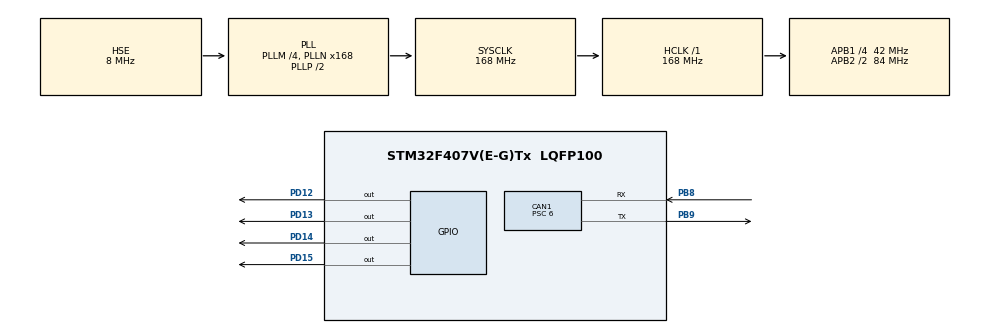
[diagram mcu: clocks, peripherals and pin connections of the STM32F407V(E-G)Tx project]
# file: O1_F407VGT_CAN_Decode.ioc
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CAN1.BS1=CAN_BS1_8TQ
CAN1.BS2=CAN_BS2_5TQ
CAN1.CalculateBaudRate=500000
CAN1.CalculateTimeBit=2000
CAN1.CalculateTimeQuantum=142.85714285714286
CAN1.Prescaler=6
Mcu.Family=STM32F4
Mcu.Name=STM32F407V(E-G)Tx
Mcu.Package=LQFP100
NVIC.CAN1_RX0_IRQn=true\:0\:0\:false\:false\:true\:true\:true\:true
NVIC.CAN1_RX1_IRQn=true\:0\:0\:false\:false\:true\:true\:true\:true
NVIC.PriorityGroup=NVIC_PRIORITYGROUP_4
PA13.Mode=Serial_Wire
PA13.Signal=SYS_JTMS-SWDIO
PA14.Mode=Serial_Wire
PA14.Signal=SYS_JTCK-SWCLK
PB8.Mode=CAN_Activate
PB8.Signal=CAN1_RX
PB9.Mode=CAN_Activate
PB9.Signal=CAN1_TX
PD12.Signal=GPIO_Output
PD13.Signal=GPIO_Output
PD14.Signal=GPIO_Output
PD15.Signal=GPIO_Output
PH0-OSC_IN.Mode=HSE-External-Oscillator
PH0-OSC_IN.Signal=RCC_OSC_IN
PH1-OSC_OUT.Mode=HSE-External-Oscillator
PH1-OSC_OUT.Signal=RCC_OSC_OUT
ProjectManager.HeapSize=0x200
ProjectManager.StackSize=0x400
ProjectManager.TargetToolchain=STM32CubeIDE
RCC.48MHZClocksFreq_Value=84000000
RCC.AHBFreq_Value=168000000
RCC.APB1CLKDivider=RCC_HCLK_DIV4
RCC.APB1Freq_Value=42000000
RCC.APB1TimFreq_Value=84000000
RCC.APB2CLKDivider=RCC_HCLK_DIV2
RCC.APB2Freq_Value=84000000
RCC.APB2TimFreq_Value=168000000
RCC.CortexFreq_Value=168000000
RCC.HCLKFreq_Value=168000000
RCC.HSE_VALUE=8000000
RCC.HSI_VALUE=16000000
RCC.LSE_VALUE=32768
RCC.PLLM=4
RCC.PLLN=168
RCC.PLLSourceVirtual=RCC_PLLSOURCE_HSE
RCC.SYSCLKFreq_VALUE=168000000
RCC.SYSCLKSource=RCC_SYSCLKSOURCE_PLLCLK
RCC.VCOOutputFreq_Value=336000000
board=custom

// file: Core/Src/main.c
/* USER CODE BEGIN Header */
/**
  ******************************************************************************
  * @file           : main.c
  * @brief          : Main program body
  ******************************************************************************
  * @attention
  *
  * Copyright (c) 2025 STMicroelectronics.
  * All rights reserved.
  *
  * This software is licensed under terms that can be found in the LICENSE file
  * in the root directory of this software component.
  * If no LICENSE file comes with this software, it is provided AS-IS.
  *
  ******************************************************************************
  */
/* USER CODE END Header */
#include "main.h"
#include "can.h"
#include "gpio.h"

/* USER CODE BEGIN Includes */

#include <string.h>

/* USER CODE END Includes */

/* USER CODE BEGIN PTD */

void Reverse_8bytes_Inplace(uint8_t *data);

/* USER CODE END PTD */

void SystemClock_Config(void);

/* USER CODE BEGIN 0 */

VESC_t VESC1,VESC2,VESC3,VESC4;

/* USER CODE END 0 */

int main(void)
{

  /* MCU Configuration--------------------------------------------------------*/

  /* Reset of all peripherals, Initializes the Flash interface and the Systick. */
  HAL_Init();

  /* Configure the system clock */
  SystemClock_Config();

  /* Initialize all configured peripherals */
  MX_GPIO_Init();
  MX_CAN1_Init();
  /* USER CODE BEGIN 2 */

  HAL_CAN_Start(&hcan1);
  HAL_CAN_ActivateNotification(&hcan1, CAN_IT_RX_FIFO0_MSG_PENDING);

  uint16_t led_pins[] = {LL_GPIO_PIN_12, LL_GPIO_PIN_13, LL_GPIO_PIN_14, LL_GPIO_PIN_15};
  int current_led = 0;

  /* USER CODE END 2 */

  /* Infinite loop */
  /* USER CODE BEGIN WHILE */
  while (1)
  {
	  for (int i = 0; i < 4; i++)
	  {
	      HAL_GPIO_WritePin(GPIOD, led_pins[i], GPIO_PIN_RESET);
	  }
	  HAL_GPIO_WritePin(GPIOD, led_pins[current_led], GPIO_PIN_SET);
	  current_led = (current_led + 1) % 4;
	  HAL_Delay(100);
    /* USER CODE END WHILE */

  }
}

void SystemClock_Config(void)
{
  RCC_OscInitTypeDef RCC_OscInitStruct = {0};
  RCC_ClkInitTypeDef RCC_ClkInitStruct = {0};

  /** Configure the main internal regulator output voltage
  */
  __HAL_RCC_PWR_CLK_ENABLE();
  __HAL_PWR_VOLTAGESCALING_CONFIG(PWR_REGULATOR_VOLTAGE_SCALE1);

  /** Initializes the RCC Oscillators according to the specified parameters
  * in the RCC_OscInitTypeDef structure.
  */
  RCC_OscInitStruct.OscillatorType = RCC_OSCILLATORTYPE_HSE;
  RCC_OscInitStruct.HSEState = RCC_HSE_ON;
  RCC_OscInitStruct.PLL.PLLState = RCC_PLL_ON;
  RCC_OscInitStruct.PLL.PLLSource = RCC_PLLSOURCE_HSE;
  RCC_OscInitStruct.PLL.PLLM = 4;
  RCC_OscInitStruct.PLL.PLLN = 168;
  RCC_OscInitStruct.PLL.PLLP = RCC_PLLP_DIV2;
  RCC_OscInitStruct.PLL.PLLQ = 4;
  if (HAL_RCC_OscConfig(&RCC_OscInitStruct) != HAL_OK)
  {
    Error_Handler();
  }

  /** Initializes the CPU, AHB and APB buses clocks
  */
  RCC_ClkInitStruct.ClockType = RCC_CLOCKTYPE_HCLK|RCC_CLOCKTYPE_SYSCLK
                              |RCC_CLOCKTYPE_PCLK1|RCC_CLOCKTYPE_PCLK2;
  RCC_ClkInitStruct.SYSCLKSource = RCC_SYSCLKSOURCE_PLLCLK;
  RCC_ClkInitStruct.AHBCLKDivider = RCC_SYSCLK_DIV1;
  RCC_ClkInitStruct.APB1CLKDivider = RCC_HCLK_DIV4;
  RCC_ClkInitStruct.APB2CLKDivider = RCC_HCLK_DIV2;

  if (HAL_RCC_ClockConfig(&RCC_ClkInitStruct, FLASH_LATENCY_5) != HAL_OK)
  {
    Error_Handler();
  }
}

/* USER CODE BEGIN 4 */

void HAL_CAN_RxFifo0MsgPendingCallback(CAN_HandleTypeDef *hcan)
{
	CAN_RxHeaderTypeDef rxHeader;
	uint8_t rxData[8];

	HAL_CAN_GetRxMessage(&hcan1, CAN_RX_FIFO0, &rxHeader, rxData);
	Reverse_8bytes_Inplace(rxData);

	if (rxHeader.IDE == CAN_ID_EXT) {
		switch (rxHeader.ExtId) {
			case CAN_ID(VESC1_ID,MSG_TYPE_HALL):
				VESC1.Status6.Encoder = *(int*)&rxData[4];
				break;
			case CAN_ID(VESC1_ID,MSG_TYPE_STATUS1):
				VESC1.Status1.Duty_Cucle = ((float)(*(int16_t*)&rxData[0]))/10.0f;
				VESC1.Status1.Current = ((float)(*(int16_t*)&rxData[2]))/10.0f;
		        VESC1.Status1.PPM = *(int*)&rxData[4];
				break;
			case CAN_ID(VESC2_ID,MSG_TYPE_HALL):
				VESC2.Status6.Encoder = *(int*)&rxData[4];
				break;
			case CAN_ID(VESC2_ID,MSG_TYPE_STATUS1):
				VESC2.Status1.Duty_Cucle = ((float)(*(int16_t*)&rxData[0]))/10.0f;
				VESC2.Status1.Current = ((float)(*(int16_t*)&rxData[2]))/10.0f;
		        VESC2.Status1.PPM = *(int*)&rxData[4];
				break;
			case CAN_ID(VESC3_ID,MSG_TYPE_HALL):
				VESC3.Status6.Encoder = *(int*)&rxData[4];
				break;
			case CAN_ID(VESC3_ID,MSG_TYPE_STATUS1):
				VESC3.Status1.Duty_Cucle = ((float)(*(int16_t*)&rxData[0]))/10.0f;
				VESC3.Status1.Current = ((float)(*(int16_t*)&rxData[2]))/10.0f;
		        VESC3.Status1.PPM = *(int*)&rxData[4];
				break;
			case CAN_ID(VESC4_ID,MSG_TYPE_HALL):
				VESC4.Status6.Encoder = *(int*)&rxData[4];
				break;
			case CAN_ID(VESC4_ID,MSG_TYPE_STATUS1):
				VESC4.Status1.Duty_Cucle = ((float)(*(int16_t*)&rxData[0]))/10.0f;
				VESC4.Status1.Current = ((float)(*(int16_t*)&rxData[2]))/10.0f;
		        VESC4.Status1.PPM = *(int*)&rxData[4];
				break;
		}
	}
}

void Reverse_8bytes_Inplace(uint8_t *data) {
    for (int i = 0; i < 4; i++) {
        uint8_t tmp = data[i];
        data[i] = data[7 - i];
        data[7 - i] = tmp;
    }
}

/* USER CODE END 4 */

void Error_Handler(void)
{
  __disable_irq();
  while (1)
  {
  }
}
